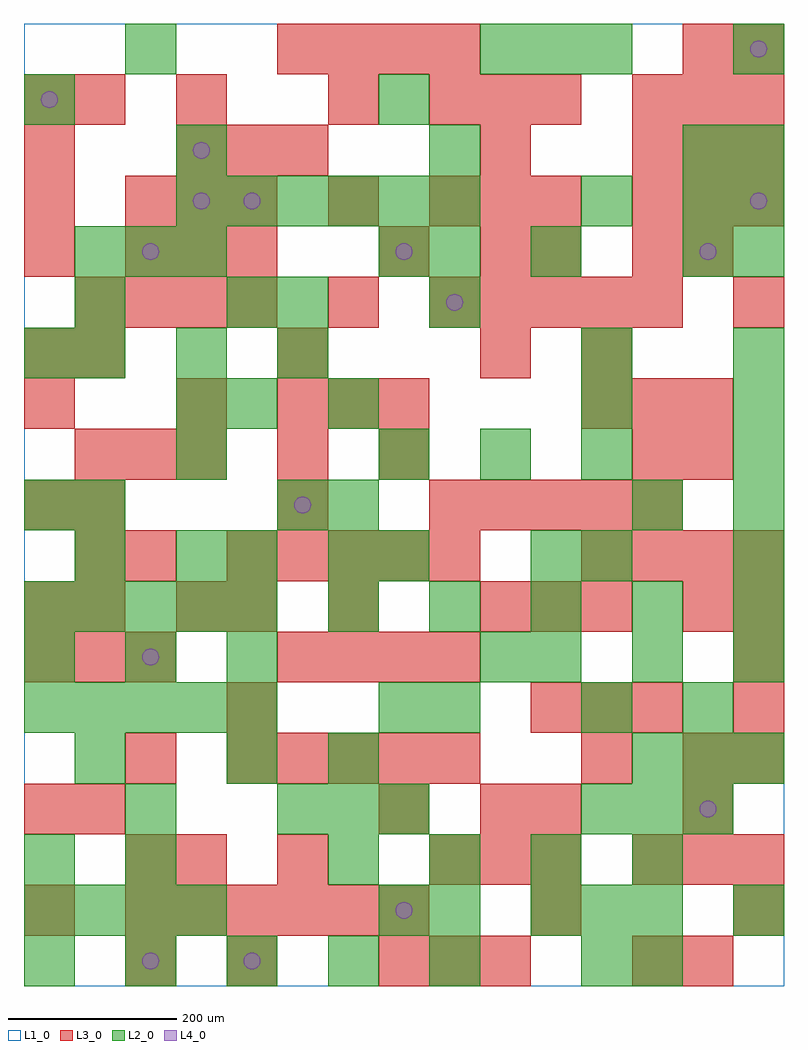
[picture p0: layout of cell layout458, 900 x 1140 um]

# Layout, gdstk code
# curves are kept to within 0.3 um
import gdstk
lib = gdstk.Library(unit=1e-6, precision=1e-09)
def R(c, l, rs):  # rectangles x0, y0, x1, y1
    for r in rs: c.add(gdstk.rectangle(r[:2], r[2:], *l))
def A(c, l, x, y, w, h, nx, ny, dx, dy):  # array of equal rectangles
    R(c, l, [(x+i*dx, y+j*dy, x+i*dx+w, y+j*dy+h) for i in range(nx) for j in range(ny)])
def P(c, l, *ps):  # polygons
    for p in ps: c.add(gdstk.Polygon(p, *l))
L1_0 = (1, 0)
L2_0 = (2, 0)
L3_0 = (3, 0)
L4_0 = (4, 0)

layout458 = lib.new_cell('layout458')
R(layout458, L1_0, [(0,0,900,1140)])
A(layout458, L2_0, 0, 0, 60, 60, 5, 1, 120, 0)
A(layout458, L2_0, 0, 60, 60, 60, 4, 1, 60, 0)
A(layout458, L2_0, 600, 60, 60, 60, 3, 1, 60, 0)
A(layout458, L2_0, 360, 120, 60, 60, 4, 1, 120, 0)
A(layout458, L2_0, 300, 180, 60, 60, 3, 1, 60, 0)
A(layout458, L2_0, 660, 180, 60, 60, 3, 1, 60, 0)
A(layout458, L2_0, 720, 240, 60, 60, 3, 1, 60, 0)
A(layout458, L2_0, 0, 300, 60, 60, 5, 2, 60, 120)
A(layout458, L2_0, 660, 300, 60, 60, 1, 3, 0, 180)
A(layout458, L2_0, 0, 360, 60, 60, 3, 1, 120, 0)
A(layout458, L2_0, 600, 360, 60, 60, 3, 1, 120, 0)
A(layout458, L2_0, 360, 420, 60, 60, 5, 1, 120, 0)
A(layout458, L2_0, 840, 480, 60, 60, 1, 5, 0, 60)
A(layout458, L2_0, 420, 600, 60, 60, 3, 1, 120, 0)
A(layout458, L2_0, 60, 720, 60, 60, 3, 1, 120, 0)
A(layout458, L2_0, 60, 840, 60, 60, 3, 1, 60, 0)
A(layout458, L2_0, 840, 840, 60, 60, 1, 3, 0, 60)
A(layout458, L2_0, 180, 900, 60, 60, 6, 1, 60, 0)
A(layout458, L2_0, 180, 960, 60, 60, 3, 1, 300, 0)
A(layout458, L2_0, 540, 1080, 60, 60, 3, 1, 60, 0)
R(layout458, L2_0, [(660,0,720,60), (720,0,780,60), (420,60,480,120), (480,60,540,120), (840,60,900,120), (0,120,60,180), (120,120,180,180), (120,180,180,240), (60,240,120,300), (240,240,300,300), (360,240,420,300), (420,300,480,360), (480,300,540,360), (780,300,840,360), (540,360,600,420), (60,480,120,540), (180,480,240,540), (240,480,300,540), (360,480,420,540), (420,480,480,540), (600,480,660,540), (0,540,60,600), (60,540,120,600), (300,540,360,600), (360,540,420,600), (720,540,780,600), (180,600,240,660), (180,660,240,720), (240,660,300,720), (360,660,420,720), (0,720,60,780), (660,720,720,780), (60,780,120,840), (240,780,300,840), (300,780,360,840), (480,780,540,840), (420,840,480,900), (480,840,540,900), (600,840,660,900), (780,840,840,900), (660,900,720,960), (780,900,840,960), (0,1020,60,1080), (420,1020,480,1080), (120,1080,180,1140), (840,1080,900,1140)])
A(layout458, L3_0, 120, 0, 60, 60, 1, 3, 0, 120)
A(layout458, L3_0, 420, 0, 60, 60, 3, 1, 60, 0)
A(layout458, L3_0, 120, 60, 60, 60, 6, 1, 60, 0)
A(layout458, L3_0, 480, 120, 60, 60, 3, 2, 60, 780)
A(layout458, L3_0, 720, 120, 60, 60, 3, 2, 60, 780)
A(layout458, L3_0, 240, 240, 60, 60, 5, 2, 60, 240)
A(layout458, L3_0, 780, 240, 60, 60, 1, 3, 0, 180)
A(layout458, L3_0, 840, 240, 60, 60, 1, 4, 0, 60)
A(layout458, L3_0, 600, 300, 60, 60, 3, 1, 60, 0)
A(layout458, L3_0, 0, 360, 60, 60, 3, 1, 60, 0)
A(layout458, L3_0, 300, 360, 60, 60, 4, 2, 60, 720)
A(layout458, L3_0, 0, 420, 60, 60, 1, 3, 0, 120)
A(layout458, L3_0, 60, 420, 60, 60, 1, 3, 0, 60)
A(layout458, L3_0, 540, 420, 60, 60, 3, 1, 60, 0)
A(layout458, L3_0, 660, 480, 60, 60, 4, 1, 60, 0)
A(layout458, L3_0, 480, 540, 60, 60, 5, 2, 60, 240)
A(layout458, L3_0, 60, 600, 60, 60, 3, 1, 60, 0)
A(layout458, L3_0, 300, 660, 60, 60, 3, 1, 60, 0)
A(layout458, L3_0, 660, 660, 60, 60, 3, 1, 60, 0)
A(layout458, L3_0, 60, 720, 60, 60, 3, 1, 240, 0)
A(layout458, L3_0, 60, 780, 60, 60, 4, 1, 60, 0)
A(layout458, L3_0, 360, 780, 60, 60, 1, 3, 0, 120)
A(layout458, L3_0, 0, 840, 60, 60, 1, 4, 0, 60)
A(layout458, L3_0, 120, 840, 60, 60, 3, 2, 60, 60)
A(layout458, L3_0, 180, 960, 60, 60, 3, 1, 60, 0)
A(layout458, L3_0, 720, 960, 60, 60, 3, 2, 60, 60)
A(layout458, L3_0, 480, 1020, 60, 60, 3, 1, 60, 0)
R(layout458, L3_0, [(240,0,300,60), (720,0,780,60), (780,0,840,60), (0,60,60,120), (600,60,660,120), (840,60,900,120), (180,120,240,180), (300,120,360,180), (0,180,60,240), (60,180,120,240), (420,180,480,240), (540,180,600,240), (600,180,660,240), (780,180,840,240), (660,240,720,300), (240,300,300,360), (180,420,240,480), (240,420,300,480), (360,420,420,480), (120,480,180,540), (300,540,360,600), (300,600,360,660), (420,600,480,660), (720,600,780,660), (180,660,240,720), (0,720,60,780), (660,720,720,780), (840,780,900,840), (420,840,480,900), (540,840,600,900), (600,840,660,900), (720,840,780,900), (780,840,840,900), (540,960,600,1020), (60,1020,120,1080), (180,1020,240,1080), (780,1080,840,1140), (840,1080,900,1140)])
P(layout458, L4_0, [(40,1050),(39.239,1053.827),(37.071,1057.071),(33.827,1059.239),(30,1060),(26.173,1059.239),(22.929,1057.071),(20.761,1053.827),(20,1050),(20.761,1046.173),(22.929,1042.929),(26.173,1040.761),(30,1040),(33.827,1040.761),(37.071,1042.929),(39.239,1046.173)],
  [(160,30),(159.239,33.827),(157.071,37.071),(153.827,39.239),(150,40),(146.173,39.239),(142.929,37.071),(140.761,33.827),(140,30),(140.761,26.173),(142.929,22.929),(146.173,20.761),(150,20),(153.827,20.761),(157.071,22.929),(159.239,26.173)],
  [(160,390),(159.239,393.827),(157.071,397.071),(153.827,399.239),(150,400),(146.173,399.239),(142.929,397.071),(140.761,393.827),(140,390),(140.761,386.173),(142.929,382.929),(146.173,380.761),(150,380),(153.827,380.761),(157.071,382.929),(159.239,386.173)],
  [(160,870),(159.239,873.827),(157.071,877.071),(153.827,879.239),(150,880),(146.173,879.239),(142.929,877.071),(140.761,873.827),(140,870),(140.761,866.173),(142.929,862.929),(146.173,860.761),(150,860),(153.827,860.761),(157.071,862.929),(159.239,866.173)],
  [(220,930),(219.239,933.827),(217.071,937.071),(213.827,939.239),(210,940),(206.173,939.239),(202.929,937.071),(200.761,933.827),(200,930),(200.761,926.173),(202.929,922.929),(206.173,920.761),(210,920),(213.827,920.761),(217.071,922.929),(219.239,926.173)],
  [(220,990),(219.239,993.827),(217.071,997.071),(213.827,999.239),(210,1000),(206.173,999.239),(202.929,997.071),(200.761,993.827),(200,990),(200.761,986.173),(202.929,982.929),(206.173,980.761),(210,980),(213.827,980.761),(217.071,982.929),(219.239,986.173)],
  [(280,30),(279.239,33.827),(277.071,37.071),(273.827,39.239),(270,40),(266.173,39.239),(262.929,37.071),(260.761,33.827),(260,30),(260.761,26.173),(262.929,22.929),(266.173,20.761),(270,20),(273.827,20.761),(277.071,22.929),(279.239,26.173)],
  [(280,930),(279.239,933.827),(277.071,937.071),(273.827,939.239),(270,940),(266.173,939.239),(262.929,937.071),(260.761,933.827),(260,930),(260.761,926.173),(262.929,922.929),(266.173,920.761),(270,920),(273.827,920.761),(277.071,922.929),(279.239,926.173)],
  [(340,570),(339.239,573.827),(337.071,577.071),(333.827,579.239),(330,580),(326.173,579.239),(322.929,577.071),(320.761,573.827),(320,570),(320.761,566.173),(322.929,562.929),(326.173,560.761),(330,560),(333.827,560.761),(337.071,562.929),(339.239,566.173)],
  [(460,90),(459.239,93.827),(457.071,97.071),(453.827,99.239),(450,100),(446.173,99.239),(442.929,97.071),(440.761,93.827),(440,90),(440.761,86.173),(442.929,82.929),(446.173,80.761),(450,80),(453.827,80.761),(457.071,82.929),(459.239,86.173)],
  [(460,870),(459.239,873.827),(457.071,877.071),(453.827,879.239),(450,880),(446.173,879.239),(442.929,877.071),(440.761,873.827),(440,870),(440.761,866.173),(442.929,862.929),(446.173,860.761),(450,860),(453.827,860.761),(457.071,862.929),(459.239,866.173)],
  [(520,810),(519.239,813.827),(517.071,817.071),(513.827,819.239),(510,820),(506.173,819.239),(502.929,817.071),(500.761,813.827),(500,810),(500.761,806.173),(502.929,802.929),(506.173,800.761),(510,800),(513.827,800.761),(517.071,802.929),(519.239,806.173)],
  [(820,210),(819.239,213.827),(817.071,217.071),(813.827,219.239),(810,220),(806.173,219.239),(802.929,217.071),(800.761,213.827),(800,210),(800.761,206.173),(802.929,202.929),(806.173,200.761),(810,200),(813.827,200.761),(817.071,202.929),(819.239,206.173)],
  [(820,870),(819.239,873.827),(817.071,877.071),(813.827,879.239),(810,880),(806.173,879.239),(802.929,877.071),(800.761,873.827),(800,870),(800.761,866.173),(802.929,862.929),(806.173,860.761),(810,860),(813.827,860.761),(817.071,862.929),(819.239,866.173)],
  [(880,930),(879.239,933.827),(877.071,937.071),(873.827,939.239),(870,940),(866.173,939.239),(862.929,937.071),(860.761,933.827),(860,930),(860.761,926.173),(862.929,922.929),(866.173,920.761),(870,920),(873.827,920.761),(877.071,922.929),(879.239,926.173)],
  [(880,1110),(879.239,1113.827),(877.071,1117.071),(873.827,1119.239),(870,1120),(866.173,1119.239),(862.929,1117.071),(860.761,1113.827),(860,1110),(860.761,1106.173),(862.929,1102.929),(866.173,1100.761),(870,1100),(873.827,1100.761),(877.071,1102.929),(879.239,1106.173)])

lib.write_gds('layout458.gds')
